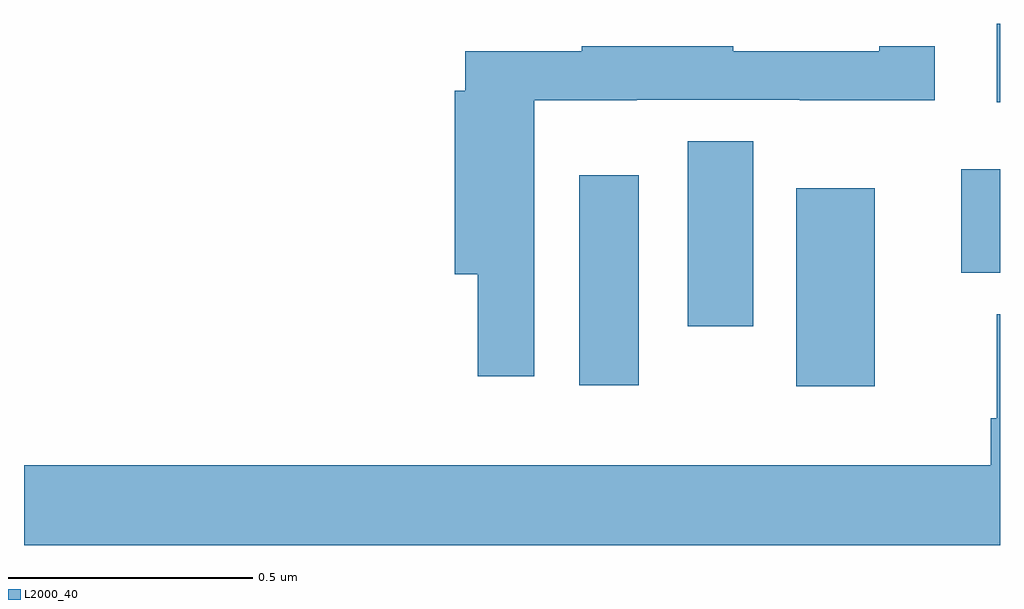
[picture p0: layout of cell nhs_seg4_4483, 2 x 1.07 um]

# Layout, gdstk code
import gdstk
lib = gdstk.Library(unit=1e-6, precision=1e-09)
def R(c, l, rs):  # rectangles x0, y0, x1, y1
    for r in rs: c.add(gdstk.rectangle(r[:2], r[2:], *l))
def P(c, l, *ps):  # polygons
    for p in ps: c.add(gdstk.Polygon(p, *l))
L2000_40 = (2000, 40)

nhs_seg4_4483 = lib.new_cell('nhs_seg4_4483')
R(nhs_seg4_4483, L2000_40, [(167.582,785.157,167.743,785.563), (167.138,785.16,167.26,785.59), (167.36,785.28,167.494,785.66), (167.921,785.39,168,785.602), (167.993,785.739,168,785.9)])
P(nhs_seg4_4483, L2000_40, [(167.046,785.744),(167.256,785.744),(167.256,785.745),(167.59,785.745),(167.59,785.744),(167.866,785.744),(167.866,785.854),(167.753,785.854),(167.753,785.844),(167.453,785.844),(167.453,785.854),(167.143,785.854),(167.143,785.844),(166.904,785.844),(166.904,785.763),(166.883,785.763),(166.883,785.387),(166.93,785.387),(166.93,785.178),(167.046,785.178)],
  [(168,785.305),(167.993,785.305),(167.993,785.092),(167.981,785.092),(167.981,784.996),(166,784.996),(166,784.832),(168,784.832)])

lib.write_gds('nhs_seg4_4483.gds')
